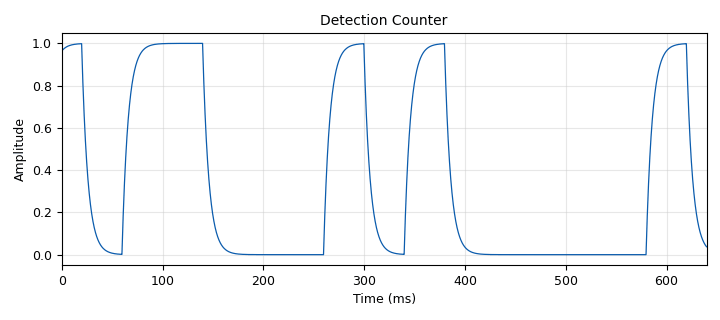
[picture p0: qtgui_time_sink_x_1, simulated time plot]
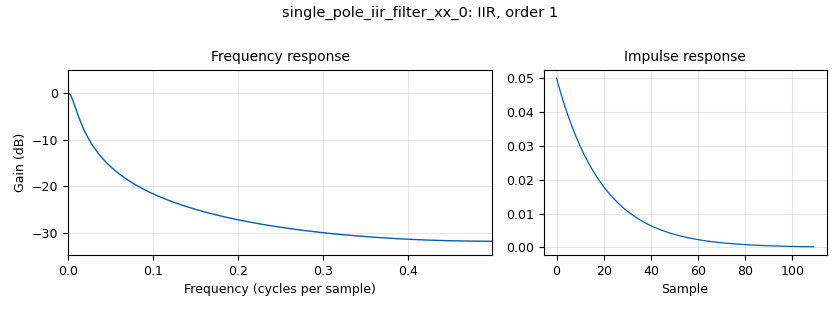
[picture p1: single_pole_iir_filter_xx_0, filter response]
options:
  parameters:
    generate_options: qt_gui
    id: tagtutorial
    output_language: python
    title: Not titled yet
  states: {}

blocks:
- name: samp_rate
  id: variable
  parameters:
    value: '3200'
  states: {}
- name: blocks_add_const_vxx_0
  id: blocks_add_const_vxx
  parameters:
    const: '0.5'
    type: float
  states: {}
- name: blocks_multiply_const_vxx_0
  id: blocks_multiply_const_vxx
  parameters:
    const: '0.5'
    type: float
  states: {}
- name: blocks_repeat_0
  id: blocks_repeat
  parameters:
    interp: '128'
    type: float
  states: {}
- name: blocks_throttle_0
  id: blocks_throttle
  parameters:
    samples_per_second: samp_rate
    type: float
  states: {}
- name: digital_glfsr_source_x_0
  id: digital_glfsr_source_x
  parameters:
    degree: '32'
    mask: '0'
    repeat: 'True'
    seed: '1'
    type: float
  states: {}
- name: epy_block_0
  id: epy_block
  parameters:
    _source_code: |
      """
      Embedded Python Blocks:

      Each time this file is saved, GRC will instantiate the first class it finds
      to get ports and parameters of your block. The arguments to __init__  will
      be the parameters. All of them are required to have default values!
      """

      import numpy as np
      from gnuradio import gr
      import pmt


      class blk(gr.sync_block):  # other base classes are basic_block, decim_block, interp_block
          """Embedded Python Block example - a simple multiply const"""

          def __init__(self, threshold=1.0, report_period=128):  # only default arguments here
              """arguments to this function show up as parameters in GRC"""
              gr.sync_block.__init__(
                  self,
                  name='Threshold Detector',   # will show up in GRC
                  in_sig=[np.float32],
                  out_sig=[np.float32]
              )
              # if an attribute with the same name as a parameter is found,
              # a callback is registered (properties work, too).
              self.threshold = threshold
              self.report_period = report_period

              self.timer = 0
              self.readyForTag = True

          def work(self, input_items, output_items):
              """example: multiply with constant"""
              
              # loop over every input sample
              for index in range(len(input_items[0])):
                  # write the tag
                  if (input_items[0][index] >= self.threshold and self.readyForTag == True):
                      # define the key as 'detect'
                      key = pmt.intern('detect')
                      # get the detection value
                      value = pmt.from_float(np.round(float(input_items[0][index]),2))
                      # tag index to be written
                      writeIndex = self.nitems_written(0) + index
                      # add the tag object (key, value pair)
                      self.add_item_tag(0, writeIndex, key, value )
                      # tag has been written, set state
                      self.readyForTag = False
                      
                  # increase  the timer by 1
                  if (self.readyForTag == False):
                      self.timer = self.timer + 1
                      
                  # set flag to write 
                  if (self.timer >= self.report_period):
                      # reset timer
                      self.timer = 0
                      # reset state once timer hits max value
                      self.readyForTag = True
              
              output_items[0][:] = input_items[0]
              return len(output_items[0])
    report_period: '128'
    threshold: '0.75'
  states: {}
- name: qtgui_time_sink_x_1
  id: qtgui_time_sink_x
  parameters:
    autoscale: 'True'
    name: '"Detection Counter"'
    size: '2048'
    srate: samp_rate
    type: float
  states: {}
- name: single_pole_iir_filter_xx_0
  id: single_pole_iir_filter_xx
  parameters:
    alpha: '0.05'
    type: float
  states: {}
- name: virtual_sink_0
  id: virtual_sink
  parameters:
    stream_id: signal
  states: {}
- name: virtual_source_0
  id: virtual_source
  parameters:
    stream_id: signal
  states: {}

connections:
- [blocks_add_const_vxx_0, '0', single_pole_iir_filter_xx_0, '0']
- [blocks_multiply_const_vxx_0, '0', blocks_add_const_vxx_0, '0']
- [blocks_repeat_0, '0', blocks_multiply_const_vxx_0, '0']
- [blocks_throttle_0, '0', virtual_sink_0, '0']
- [digital_glfsr_source_x_0, '0', blocks_repeat_0, '0']
- [epy_block_0, '0', qtgui_time_sink_x_1, '0']
- [single_pole_iir_filter_xx_0, '0', blocks_throttle_0, '0']
- [virtual_source_0, '0', epy_block_0, '0']

metadata:
  file_format: 1
